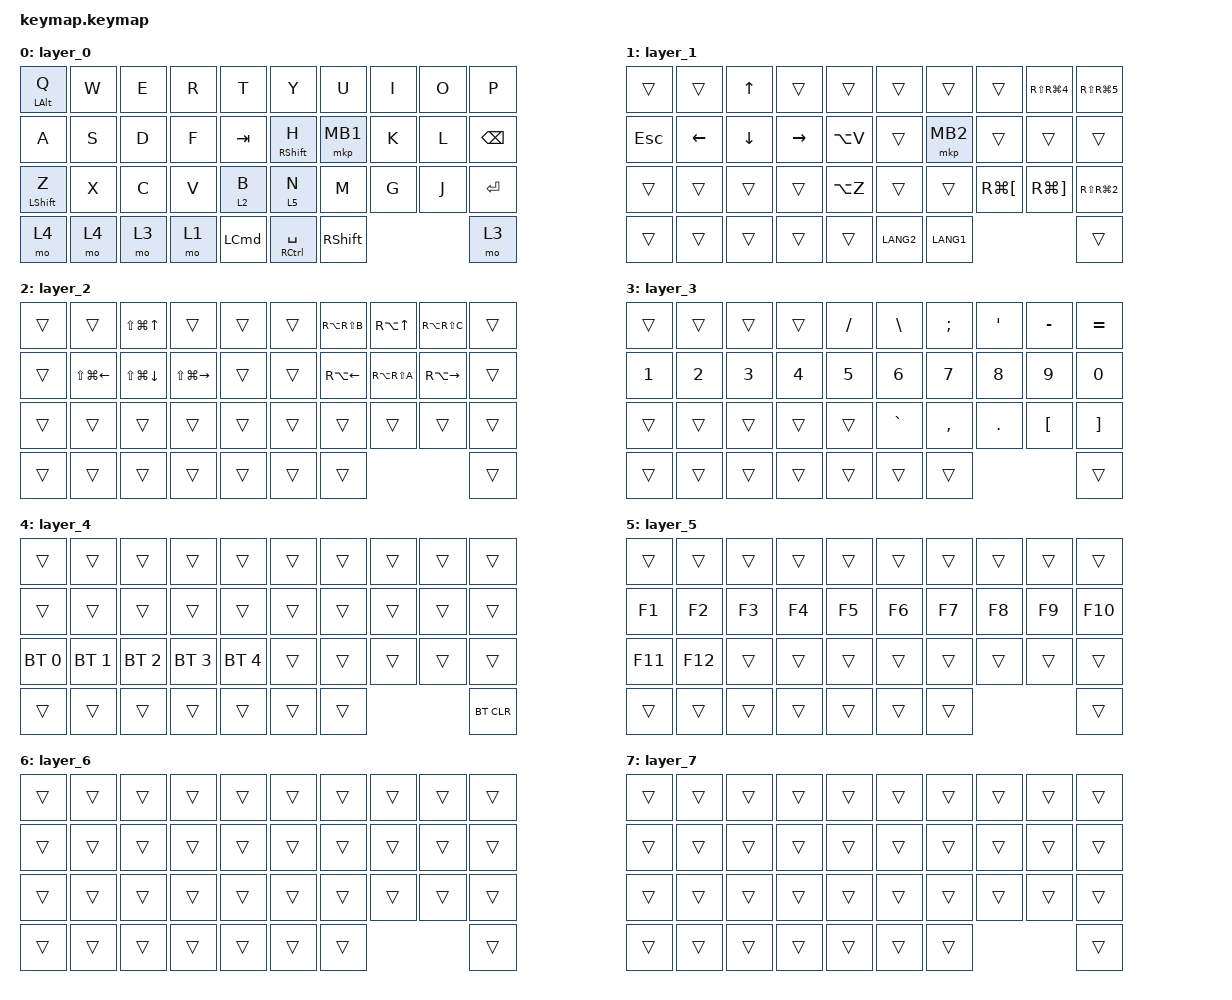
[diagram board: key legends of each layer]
#include <behaviors.dtsi>
#include <dt-bindings/zmk/bt.h>
#include <dt-bindings/zmk/keys.h>
#include <dt-bindings/zmk/pointing.h>

&mt {
    flavor = "tap-preferred";
    quick-tap-ms = <0>;
    tapping-term-ms = <300>;
};

/ {
    keymap {
        compatible = "zmk,keymap";

        layer_0 {
            bindings = <
&mt LEFT_ALT Q    &kp W  &kp E  &kp R  &kp T     &kp Y              &kp U            &kp I  &kp O  &kp P
&kp A             &kp S  &kp D  &kp F  &kp TAB   &mt RIGHT_SHIFT H  &mkp MB1         &kp K  &kp L  &kp BACKSPACE
&mt LEFT_SHIFT Z  &kp X  &kp C  &kp V  &lt 2 B   &lt 5 N            &kp M            &kp G  &kp J  &kp RETURN
&mo 4             &mo 4  &mo 3  &mo 1  &kp LCMD  &mt RCTRL SPACE    &kp RIGHT_SHIFT                &mo 3
            >;
        };

        layer_1 {
            bindings = <
&trans       &trans           &kp UP_ARROW    &trans            &trans      &trans      &trans      &trans                 &kp RS(RG(NUMBER_4))   &kp RS(RG(N5))
&kp ESCAPE  &kp LEFT_ARROW  &kp DOWN_ARROW  &kp RIGHT_ARROW  &kp LA(V)  &trans      &mkp MB2   &trans                 &trans                  &trans
&trans       &trans           &trans           &trans            &kp LA(Z)  &trans      &trans      &kp RG(LEFT_BRACKET)  &kp RG(RIGHT_BRACKET)  &kp RS(RG(NUMBER_2))
&trans       &trans           &trans           &trans            &trans      &kp LANG2  &kp LANG1                                               &trans
            >;
        };

        layer_2 {
            bindings = <
&trans  &trans                   &kp LS(LG(UP_ARROW))    &trans                    &trans  &trans  &kp RA(RS(B))       &kp RA(UP_ARROW)  &kp RA(RS(C))        &trans
&trans  &kp LS(LG(LEFT_ARROW))  &kp LS(LG(DOWN_ARROW))  &kp LS(LG(RIGHT_ARROW))  &trans  &trans  &kp RA(LEFT_ARROW)  &kp RA(RS(A))     &kp RA(RIGHT_ARROW)  &trans
&trans  &trans                   &trans                   &trans                    &trans  &trans  &trans               &trans             &trans                &trans
&trans  &trans                   &trans                   &trans                    &trans  &trans  &trans                                                      &trans
            >;
        };

        layer_3 {
            bindings = <
&trans         &trans         &trans         &trans         &kp SLASH  &kp BACKSLASH  &kp SEMI   &kp SQT     &kp MINUS         &kp EQUAL
&kp NUMBER_1  &kp NUMBER_2  &kp NUMBER_3  &kp NUMBER_4  &kp N5     &kp NUMBER_6   &kp N7     &kp N8      &kp N9            &kp N0
&trans         &trans         &trans         &trans         &trans      &kp GRAVE      &kp COMMA  &kp PERIOD  &kp LEFT_BRACKET  &kp RIGHT_BRACKET
&trans         &trans         &trans         &trans         &trans      &trans          &trans                                    &trans
            >;
        };

        layer_4 {
            bindings = <
&trans        &trans        &trans        &trans        &trans        &trans  &trans  &trans  &trans  &trans
&trans        &trans        &trans        &trans        &trans        &trans  &trans  &trans  &trans  &trans
&bt BT_SEL 0  &bt BT_SEL 1  &bt BT_SEL 2  &bt BT_SEL 3  &bt BT_SEL 4  &trans  &trans  &trans  &trans  &trans
&trans        &trans        &trans        &trans        &trans        &trans  &trans                  &bt BT_CLR
            >;
        };

        layer_5 {
            bindings = <
&trans   &trans   &trans  &trans  &trans  &trans  &trans  &trans  &trans  &trans
&kp F1   &kp F2   &kp F3  &kp F4  &kp F5  &kp F6  &kp F7  &kp F8  &kp F9  &kp F10
&kp F11  &kp F12  &trans  &trans  &trans  &trans  &trans  &trans  &trans  &trans
&trans   &trans   &trans  &trans  &trans  &trans  &trans                  &trans
            >;
        };

        layer_6 {
            bindings = <
&trans  &trans  &trans  &trans  &trans  &trans  &trans  &trans  &trans  &trans
&trans  &trans  &trans  &trans  &trans  &trans  &trans  &trans  &trans  &trans
&trans  &trans  &trans  &trans  &trans  &trans  &trans  &trans  &trans  &trans
&trans  &trans  &trans  &trans  &trans  &trans  &trans                  &trans
            >;
        };

        layer_7 {
            bindings = <
&trans  &trans  &trans  &trans  &trans  &trans  &trans  &trans  &trans  &trans
&trans  &trans  &trans  &trans  &trans  &trans  &trans  &trans  &trans  &trans
&trans  &trans  &trans  &trans  &trans  &trans  &trans  &trans  &trans  &trans
&trans  &trans  &trans  &trans  &trans  &trans  &trans                  &trans
            >;
        };
    };
};
